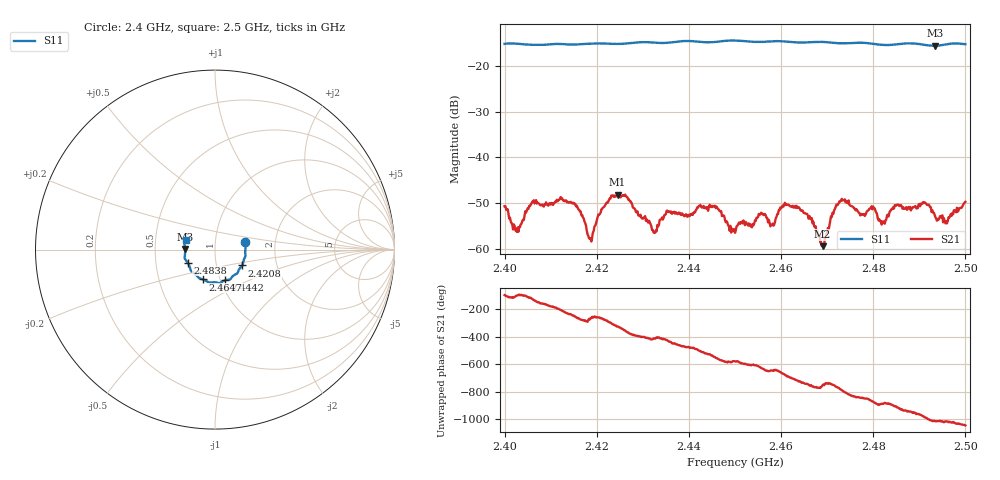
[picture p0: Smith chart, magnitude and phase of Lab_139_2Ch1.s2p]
# Hz S RI R 50
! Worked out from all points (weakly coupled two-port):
!   601 points, 2.4 GHz to 2.5 GHz, reference 50 ohm
!   highest |S21| = -48.08 dB at 2.4245 GHz (marker M1); lowest = -59.3 dB at 2.469 GHz (marker M2)
!   lowest |S11| = -15.6 dB at 2.4935 GHz (marker M3), VSWR 1.40, Z = 35.8 + j0.195 ohm
!   |S11| at or under -10 dB: start of sweep to end of sweep
!   S12 and S22 are empty: the file has one direction only
!   S11 on the Smith chart (normalised r, x): 2.4 GHz: 1.40, +0.12; 2.4208 GHz: 1.33, -0.24; 2.4442 GHz: 1.05, -0.37; 2.4647 GHz: 0.83, -0.29; 2.4838 GHz: 0.73, -0.11; 2.5 GHz: 0.72, +0.08
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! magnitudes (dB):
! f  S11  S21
! 2.4 GHz  -15.2  -50.6
! 2.4028 GHz  -15.2  -55.3
! 2.4063 GHz  -15.4  -49.3
! 2.4167 GHz  -15.3  -52.6
! 2.4185 GHz  -15.2  -57.7
! 2.4208 GHz  -15.1  -52.0
! 2.4245 GHz  -15.2  -48.1
! 2.4333 GHz  -15.0  -55.0
! 2.4442 GHz  -14.9  -51.6
! 2.45 GHz  -14.5  -56.4
! 2.4557 GHz  -14.8  -52.0
! 2.4582 GHz  -14.6  -54.4
! 2.4608 GHz  -14.7  -49.9
! 2.4647 GHz  -14.9  -51.6
! 2.4667 GHz  -14.8  -53.2
! 2.469 GHz  -14.8  -59.3
! 2.4732 GHz  -15.1  -49.0
! 2.4833 GHz  -15.5  -52.9
! 2.4838 GHz  -15.4  -51.6
! 2.491 GHz  -15.4  -50.0
! 2.4935 GHz  -15.6  -53.0
! 2.5 GHz  -15.3  -49.7
